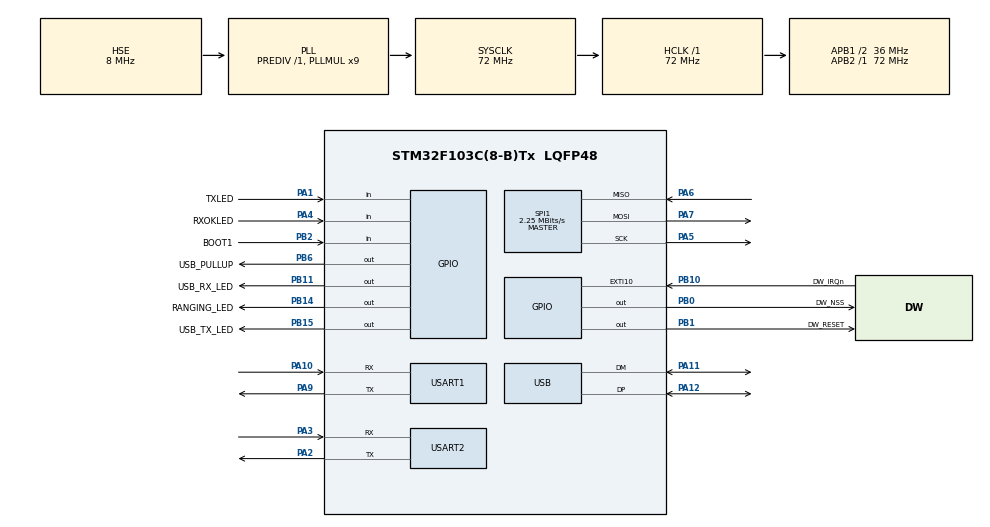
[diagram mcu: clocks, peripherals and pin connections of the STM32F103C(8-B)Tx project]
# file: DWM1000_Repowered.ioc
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Mcu.Family=STM32F1
Mcu.Name=STM32F103C(8-B)Tx
Mcu.Package=LQFP48
NVIC.EXTI15_10_IRQn=true\:0\:0\:false\:false\:true\:true\:true
NVIC.PriorityGroup=NVIC_PRIORITYGROUP_4
NVIC.USB_LP_CAN1_RX0_IRQn=true\:0\:0\:false\:false\:true\:false\:true
PA1.GPIO_Label=TXLED
PA1.Signal=GPIO_Input
PA10.Mode=Asynchronous
PA10.Signal=USART1_RX
PA11.Mode=Device
PA11.Signal=USB_DM
PA12.Mode=Device
PA12.Signal=USB_DP
PA13.Mode=Serial_Wire
PA13.Signal=SYS_JTMS-SWDIO
PA14.Mode=Serial_Wire
PA14.Signal=SYS_JTCK-SWCLK
PA2.Mode=Asynchronous
PA2.Signal=USART2_TX
PA3.Mode=Asynchronous
PA3.Signal=USART2_RX
PA4.GPIO_Label=RXOKLED
PA4.Signal=GPIO_Input
PA5.Mode=Full_Duplex_Master
PA5.Signal=SPI1_SCK
PA6.Mode=Full_Duplex_Master
PA6.Signal=SPI1_MISO
PA7.Mode=Full_Duplex_Master
PA7.Signal=SPI1_MOSI
PA9.Mode=Asynchronous
PA9.Signal=USART1_TX
PB0.GPIO_Label=DW_NSS
PB0.PinState=GPIO_PIN_SET
PB0.Signal=GPIO_Output
PB1.GPIO_Label=DW_RESET
PB1.GPIO_ModeDefaultOutputPP=GPIO_MODE_OUTPUT_OD
PB1.PinState=GPIO_PIN_SET
PB1.Signal=GPIO_Output
PB10.GPIO_Label=DW_IRQn
PB10.GPIO_ModeDefaultEXTI=GPIO_MODE_IT_RISING
PB10.GPIO_PuPd=GPIO_PULLDOWN
PB10.Signal=GPXTI10
PB11.GPIO_Label=USB_RX_LED
PB11.Signal=GPIO_Output
PB14.GPIO_Label=RANGING_LED
PB14.Signal=GPIO_Output
PB15.GPIO_Label=USB_TX_LED
PB15.Signal=GPIO_Output
PB2.GPIO_Label=BOOT1
PB2.Signal=GPIO_Input
PB6.GPIO_Label=USB_PULLUP
PB6.Signal=GPIO_Output
PC14-OSC32_IN.Mode=LSE-External-Oscillator
PC14-OSC32_IN.Signal=RCC_OSC32_IN
PC15-OSC32_OUT.Mode=LSE-External-Oscillator
PC15-OSC32_OUT.Signal=RCC_OSC32_OUT
PD0-OSC_IN.Mode=HSE-External-Oscillator
PD0-OSC_IN.Signal=RCC_OSC_IN
PD1-OSC_OUT.Mode=HSE-External-Oscillator
PD1-OSC_OUT.Signal=RCC_OSC_OUT
ProjectManager.HeapSize=0x200
ProjectManager.StackSize=0x400
ProjectManager.TargetToolchain=STM32CubeIDE
RCC.AHBFreq_Value=72000000
RCC.APB1CLKDivider=RCC_HCLK_DIV2
RCC.APB1Freq_Value=36000000
RCC.APB1TimFreq_Value=72000000
RCC.APB2Freq_Value=72000000
RCC.APB2TimFreq_Value=72000000
RCC.HCLKFreq_Value=72000000
RCC.PLLMUL=RCC_PLL_MUL9
RCC.PLLSourceVirtual=RCC_PLLSOURCE_HSE
RCC.SYSCLKFreq_VALUE=72000000
RCC.SYSCLKSource=RCC_SYSCLKSOURCE_PLLCLK
RCC.USBFreq_Value=48000000
RCC.USBPrescaler=RCC_USBCLKSOURCE_PLL_DIV1_5
SPI1.BaudRatePrescaler=SPI_BAUDRATEPRESCALER_32
SPI1.CalculateBaudRate=2.25 MBits/s
SPI1.Direction=SPI_DIRECTION_2LINES
SPI1.Mode=SPI_MODE_MASTER
SPI1.VirtualType=VM_MASTER
USART1.VirtualMode=VM_ASYNC
USART2.VirtualMode=VM_ASYNC
USB_DEVICE.APP_RX_DATA_SIZE=512
USB_DEVICE.APP_TX_DATA_SIZE=512
USB_DEVICE.CLASS_NAME_FS=CDC
USB_DEVICE.PRODUCT_STRING_CDC_FS=Repowered Robotics UWB
USB_DEVICE.USBD_DEBUG_LEVEL=0
USB_DEVICE.VirtualMode=Cdc
USB_DEVICE.VirtualModeFS=Cdc_FS
VP_USB_DEVICE_VS_USB_DEVICE_CDC_FS.Mode=CDC_FS
board=custom

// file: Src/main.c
/* USER CODE BEGIN Header */
/**
 ******************************************************************************
 * @file           : main.c
 * @brief          : Main program body
 ******************************************************************************
 * @attention
 *
 * <h2><center>&copy; Copyright (c) 2019 STMicroelectronics.
 * All rights reserved.</center></h2>
 *
 * This software component is licensed by ST under BSD 3-Clause license,
 * the "License"; You may not use this file except in compliance with the
 * License. You may obtain a copy of the License at:
 *                        opensource.org/licenses/BSD-3-Clause
 *
 ******************************************************************************
 */
/* USER CODE END Header */

#include "main.h"
#include "usb_device.h"

/* USER CODE BEGIN PD */

/* CAN ID, change to desired value if flashing for the first time */
#define SELF_CAN_ID 		0x01

#ifdef ANCHOR
/* ID of this device, change to desired value if flashing for the first time */
#define SELF_ID 			0x11
#endif

#ifdef BEACON
/* ID of this device will be the CAN bus id, because why not */
#define SELF_ID 			SELF_CAN_ID
#endif

#define IF_TYPE_USB 	0x01
#define IF_TYPE_UART 	0x02

/* RX Timeout in milliseconds */
#define RX_TIMEOUT 			50

/* Broadcast period in milliseconds */
#define ANCHOR_BROADCAST_PERIOD 250

/* USER CODE END PD */

SPI_HandleTypeDef hspi1;

UART_HandleTypeDef huart1;
UART_HandleTypeDef huart2;

/* USER CODE BEGIN PV */
char debug_buf[512];

static dwt_config_t config = {
		2,               /* Channel number. */
		DWT_PRF_64M,     /* Pulse repetition frequency. */
		DWT_PLEN_128,   /* Preamble length. Used in TX only. */
		DWT_PAC8,       /* Preamble acquisition chunk size. Used in RX only. */
		9,               /* TX preamble code. Used in TX only. */
		9,               /* RX preamble code. Used in RX only. */
		0,               /* 0 to use standard SFD, 1 to use non-standard SFD. */
		DWT_BR_6M8,      /* Data rate. */
		DWT_PHRMODE_STD, /* PHY header mode. */
		(1025 + 64)    	 /* SFD timeout (preamble length + 1 + SFD length - PAC size). Used in RX only. */
};

DistanceFrame anchors[NUMBER_OF_ANCHORS];

state_data_t 	state_data;
state_t 		state 		= IDLE;
uint32_t timeout_start 		= 0;
_Bool 			new_frame 	= 0;
RangingStatus 	ranging_status;
dwt_rxdiag_t 	rx_diagnostics;
double 			rx_power;
double 			fp_power;
double 			snr;
_Bool 			do_ranging 					= 0;
_Bool 			dwm1000_setup_success 		= 0;
BeaconTimeStamps beacon_stamps;
uint8 			sequence_num 				= 0;
uint32_t 		operating_mode 				= DEVICE_MODE_TAG;

unsigned long long t_sp, t_rr, t_sf, t_rp, t_sr, t_rf;

int size = 0; 						// used for sprintf and debugging
uint8_t uart_buf[INPUT_BUFFER_SIZE] = {}; 		// store data received over UART2
HAL_StatusTypeDef 	UART_status;
HAL_StatusTypeDef 	uart2_status; 	// status of uart2
int8_t 				usb_status;
uint32_t 			bytes_read; 	//
extern AnchorData* anchor_data; 	// place to store data for anchors (defined in comm.h)
CONFIG_FIELD_TYPE self_config[FIELD_SIZE*NUM_FIELDS]; 	// configuration for ourselves
uint8_t packet[INPUT_BUFFER_SIZE]; 	// will hold received packet from host
uint8_t packet_type = 0; 			// type of received packet
int packet_len 	= 0; 			// length of received packet
int packet_rcvd 	= 0; 			// indicate if packet has been received and how to process it
uint8_t send_buf[SEND_BUF_SIZE]; 	// lorge buffer for response packet
int usb_ind = 0;
uint16 src_address;
uint16 src_panid;

/* USER CODE END PV */

void SystemClock_Config(void);
static void MX_GPIO_Init(void);
static void MX_SPI1_Init(void);
static void MX_USART1_UART_Init(void);
static void MX_USART2_UART_Init(void);
/* USER CODE BEGIN PFP */
void init_from_fields(void* fields, dwt_config_t* dw_config);
void init_from_config(CONFIG_FIELD_TYPE* config, dwt_config_t* dw_config);
void set_state(state_data_t* sd, state_t state);
void set_state_idle(state_data_t* state);
void set_state_tag_idle(state_data_t* sd);
void set_state_anchor_idle(state_data_t* state);
void set_wait_for_poll(state_data_t* sd);
void set_wait_for_final(state_data_t* sd);
void set_wait_for_repsonse(state_data_t* sd);
void set_wait_for_data(state_data_t* sd);
void set_state_process_rx_frame(state_data_t* state);
void process_anchor_broadcast(state_data_t* state);
void tag_wait_timeout(state_data_t* state);
void anchor_wait_timeout(state_data_t* state);
void next_anchor(state_data_t* state);
int  check_rx_state();
void disable_ranging(state_data_t* state);
void enable_ranging(state_data_t* state);
void dw_it_disable(void);
void dw_it_enable(void);
uint8_t CDC_Transmit_FS(uint8_t* Buf, uint16_t Len);
/* USER CODE END PFP */

int main(void)
{

  /* MCU Configuration--------------------------------------------------------*/

  /* Reset of all peripherals, Initializes the Flash interface and the Systick. */
  HAL_Init();

  /* Configure the system clock */
  SystemClock_Config();

  /* Initialize all configured peripherals */
  MX_GPIO_Init();
  MX_SPI1_Init();
  MX_USART1_UART_Init();
  MX_USART2_UART_Init();
  MX_USB_DEVICE_Init();
  /* USER CODE BEGIN 2 */

	anchor_data = (AnchorData*)malloc((ANCHOR_LIST_SIZE + 1)*sizeof(AnchorData));
	init_anchor_array(anchor_data, ANCHOR_LIST_SIZE + 1);

	state_data.anchors = anchor_data;

	init_field_memory(self_config); // set everything to defaults

	read_config_from_eeprom(self_config); 	// pull any existing values from flash

	init_from_config(self_config, &config); // inititalize the DWM1000 from our fields

//	HAL_Delay(state_data.self_id * 10); // delay to hopefully stagger broadcast messages

  /* USER CODE END 2 */

  /* Infinite loop */
	while (1)
	{

    /* USER CODE BEGIN 3 */
		// ---- check UART for data ----
		uart2_status = HAL_UART_Receive(&huart2, uart_buf, HDDR_LEN, 5); //INPUT_TIMEOUT);
		if((packet_type = uart_buf[0]) != 0 && uart2_status == HAL_OK){
			HAL_GPIO_WritePin(USB_RX_LED_GPIO_Port, USB_RX_LED_Pin, GPIO_PIN_SET);
			packet_len = HDDR_LEN + uart_buf[1] + 1; 	// get the packet length

			if(packet_len > INPUT_BUFFER_SIZE)
				packet_len = INPUT_BUFFER_SIZE; // clamp packet_len just in case

			// read the packet
			uart2_status = HAL_UART_Receive(&huart2, uart_buf + HDDR_LEN, uart_buf[1] + 1, INPUT_TIMEOUT);

			// if all is well
			if(uart2_status == HAL_OK && uart_buf[packet_len - 1] == STOP_BYTE){
				packet_rcvd = IF_TYPE_UART;
				memcpy(packet, uart_buf, packet_len);
			}

			memset(uart_buf, 0, packet_len); // clear the packet buffer
			HAL_GPIO_WritePin(USB_RX_LED_GPIO_Port, USB_RX_LED_Pin, GPIO_PIN_RESET);

		}else if((packet_type = usb_rx_buffer[0]) != 0){
			HAL_GPIO_WritePin(USB_RX_LED_GPIO_Port, USB_RX_LED_Pin, GPIO_PIN_SET);
			packet_len 	= usb_rx_buffer[1] + HDDR_LEN + 1;

			if(packet_len > INPUT_BUFFER_SIZE)
				packet_len = INPUT_BUFFER_SIZE; // clamp packet_len just in case

			if(usb_rx_buffer[packet_len - 1] == STOP_BYTE){
				packet_rcvd = IF_TYPE_USB;
				memcpy(packet, usb_rx_buffer, packet_len);
			}

			memset(usb_rx_buffer, 0, packet_len);

			HAL_GPIO_WritePin(USB_RX_LED_GPIO_Port, USB_RX_LED_Pin, GPIO_PIN_RESET);
		}

		// ---- Process received packet ----
		if(packet_rcvd > 0){
			debug(&huart1, "Processing packet\r\n");
			int packet_status = process_packet(packet, send_buf, self_config, &state_data);

			if(packet_status == PACKET_OK){
				if(packet[0] == CMD_SET_CONFIG){
					init_from_config(self_config, &config); // re-initialize with the new parameters
					save_fields_to_eeprom(self_config);
				}
			}else{
				sprintf(debug_buf, "Packet error: %d\r\n", packet_status);
				debug(&huart1, debug_buf);
			}
			int send_size = HDDR_LEN + send_buf[1] + 1;
			switch(packet_rcvd){
			case IF_TYPE_UART:
				HAL_GPIO_WritePin(GPIOB, USB_TX_LED_Pin, GPIO_PIN_SET);
				uart2_status = HAL_UART_Transmit(&huart2, send_buf, send_size, INPUT_TIMEOUT);
//				uart2_status = HAL_UART_Transmit_IT(&huart2, send_buf, send_size);
				HAL_GPIO_WritePin(GPIOB, USB_TX_LED_Pin, GPIO_PIN_RESET);
				break;
			case IF_TYPE_USB:
				HAL_GPIO_WritePin(GPIOB, USB_TX_LED_Pin, GPIO_PIN_SET);
				CDC_Transmit_FS(send_buf, send_size);
				HAL_GPIO_WritePin(GPIOB, USB_TX_LED_Pin, GPIO_PIN_RESET);
				break;
			default:
				break;
			}
			packet_rcvd = 0; // reset this flag
		}

		// ==== STATE MACHINE ====
		if(state_data.mode == DEVICE_MODE_TAG){
			switch(state_data.state){
			case IDLE:
				//debug(&huart1, "idle...\r");
				// check for the trigger signal
				if(state_data.ranging){

					dwt_forcetrxoff(); // in case we were in RX mode looking for a beacon frame

					// select whichever anchor we're ranging with
					state_data.transact_id = state_data.anchors[state_data.anchor_ind].id;
					size = sprintf(debug_buf, "(Anchor index: %d) Sending POLL to anchor %d\r\n", state_data.anchor_ind, state_data.transact_id);
					debug(&huart1, debug_buf);

					// LED on
					//HAL_GPIO_WritePin(RANGING_LED_GPIO_Port, RANGING_LED_Pin, GPIO_PIN_SET);
					int data_len = rtls_make_mac_header(&state_data, FRAME_TYPE_DATA); //make_mac_header(state_data.tx_buffer, state_data.transact_id, state_data.transact_id, state_data.seq_num);
					state_data.tx_buffer[data_len++] = POLL; // right after the MAC header

					if(transmit_frame(state_data.tx_buffer, data_len + 2, 1) != TX_SUCCESS)
						break;

					state_data.t_sp = get_tx_timestamp();
					set_wait_for_repsonse(&state_data);
				}else if(HAL_GetTick() - state_data.timer_start >= state_data.ranging_period &&
						state_data.num_anchors > 0){

					state_data.timer_start = HAL_GetTick();
					enable_ranging(&state_data);
				}
				break;
			case WAIT_FOR_RESPONSE:
				if(state_data.new_frame){
					state_data.new_frame = 0;
					// check the frame type and source address
					if(state_data.rx_buffer[MAC_SIZE_EXPECTED] == RESPONSE_INIT &&
							get_src_addr(state_data.rx_buffer) == state_data.transact_id){

						size = sprintf(debug_buf, "RESPONSE_INIT from %d\r\n", state_data.transact_id);
						debug(&huart1, debug_buf);

						state_data.t_rr = get_rx_timestamp();

						send_response_final(&state_data);

						state_data.t_sf = get_tx_timestamp();

						set_wait_for_data(&state_data);
					}else{
						dwt_rxenable(DWT_START_RX_IMMEDIATE); // re-enable receiver and keep listening
					}
				}else if(HAL_GetTick() - state_data.timer_start >= RX_TIMEOUT){
					tag_wait_timeout(&state_data);
				}
				break;
			case WAIT_FOR_DATA:
				if(state_data.new_frame){
					state_data.new_frame = 0;
					// check the frame type and source address
					if(state_data.rx_buffer[MAC_SIZE_EXPECTED] == RESPONSE_DATA &&
							get_src_addr(state_data.rx_buffer) == state_data.transact_id){

						size = sprintf(debug_buf, "RESPONSE_DATA from %d\r\n", state_data.transact_id);
						debug(&huart1, debug_buf);

						AnchorData* anchor = &(state_data.anchors[state_data.anchor_ind]);

						// COPY ALL THE DATA OVER
						int ind = MAC_SIZE_EXPECTED + 1; // index for start of timestamps
						memcpy(&state_data.t_rp, state_data.rx_buffer + ind, sizeof(state_data.t_rp));
						ind += sizeof(state_data.t_rp);
						memcpy(&state_data.t_sr, state_data.rx_buffer + ind, sizeof(state_data.t_sr));
						ind += sizeof(state_data.t_sr);
						memcpy(&state_data.t_rf, state_data.rx_buffer + ind, sizeof(state_data.t_rf));
						ind += sizeof(state_data.t_rf);
						memcpy(&anchor->x, state_data.rx_buffer + ind, sizeof(anchor->x));
						ind += sizeof(anchor->x);
						memcpy(&anchor->y, state_data.rx_buffer + ind, sizeof(anchor->y));
						ind += sizeof(anchor->y);
						memcpy(&anchor->z, state_data.rx_buffer + ind, sizeof(anchor->z));
						ind += sizeof(anchor->z);
						anchor->timestamp = HAL_GetTick();

						get_tof(&state_data);

						state_data.distance = DISTANCE_FROM_TOF(state_data.tof);
						//state_data.ranging = 0; // done ranging

						anchor->timeout_count = 0;
						anchor->distance = state_data.distance;

						HAL_GPIO_WritePin(RANGING_LED_GPIO_Port, RANGING_LED_Pin, GPIO_PIN_RESET);

						disable_ranging(&state_data);

						set_state_tag_idle(&state_data); 		// back to idle state

						next_anchor(&state_data); 				// increment anchor index

						//HAL_Delay(state_data.ranging_period); 	// take a break

					}else{
						dwt_rxenable(DWT_START_RX_IMMEDIATE); 	// re-enable receiver and keep listening
					}
				}else if(HAL_GetTick() - state_data.timer_start >= RX_TIMEOUT){
					tag_wait_timeout(&state_data);
				}
				break;
			default:
				set_state_tag_idle(&state_data);
				break;
			}
		}else if(state_data.mode == DEVICE_MODE_ANCHOR){
			switch(state_data.state){
			case IDLE:
				set_wait_for_poll(&state_data);
				break;
			case WAIT_FOR_POLL:
				if(state_data.new_frame){
					state_data.new_frame = 0; // deassert new_frame
					debug(&huart1, "new frame\r\n");
					// if we're NOT ranging already, and this is a POLL frame
					if(!state_data.ranging && state_data.rx_buffer[MAC_SIZE_EXPECTED] == POLL){

						enable_ranging(&state_data); // indicate ranging in progress

						state_data.t_rp = get_rx_timestamp(); 		// stash rx timestamp
						//state_data.transact_id = get_src_addr(state_data.rx_buffer); // indicate who we're talking with

						size = sprintf(debug_buf, "Got POLL from %d\r\n", state_data.transact_id);
						debug(&huart1, debug_buf);

						send_response_init(&state_data); 	// send a RESPONSE_INIT frame & stash timestamp
						if(state_data.tx_status != TX_SUCCESS){
							init_from_config(self_config, &config); // just reinitialize
							set_state_idle(&state_data);
						}else{
							set_wait_for_final(&state_data); 	// transition to state WAIT_FOR_FINAL
						}
					}
//					else if(state_data.rx_buffer[MAC_SIZE_EXPECTED] == ANCHOR_BROADCAST){
//						// we've received an anchor broadcast signal
//						//HAL_Delay(state_data.self_id * 10); // delay to stagger broadcast transmission;
//						dwt_rxenable(DWT_START_RX_IMMEDIATE);
//					}
					else{
						dwt_rxenable(DWT_START_RX_IMMEDIATE); // re-enable receiver and keep listening
					}
				}
				else if(HAL_GetTick() - state_data.broadcast_timer >= ANCHOR_BROADCAST_PERIOD){
					// BROADCAST
					disable_ranging(&state_data);
					debug(&huart1, "Broadcasting our info...\r\n");
					dwt_forcetrxoff();

					send_anchor_broadcast(&state_data);
					set_wait_for_poll(&state_data); // enables receiver and resets timer_start
				}
				break;
			case WAIT_FOR_FINAL:
				if(state_data.new_frame){
					state_data.new_frame = 0;
					// if it's a SEND_FINAL frame and the SRC ADDR matches the current transact_id
					if(state_data.rx_buffer[MAC_SIZE_EXPECTED] == SEND_FINAL &&
							state_data.transact_id == get_src_addr(state_data.rx_buffer)){

						size = sprintf(debug_buf, "Got SEND_FINAL from %d\r\n", state_data.transact_id);
						debug(&huart1, debug_buf);

						state_data.t_rf = get_rx_timestamp(); 	// stash the timestamp

						send_response_data(&state_data); 		// send a RESPONSE_DATA frame

						disable_ranging(&state_data);

						set_wait_for_poll(&state_data); // return to WAIT_FOR_POLL
					}else{
						dwt_rxenable(DWT_START_RX_IMMEDIATE);
					}
				}else if(HAL_GetTick() - state_data.timer_start >= RX_TIMEOUT){
					anchor_wait_timeout(&state_data);
				}
				break;
			default:
				set_wait_for_poll(&state_data);
				break;
			}
		}else{
			// unrecognized operating mode
		}

	}
  /* USER CODE END 3 */
}

void SystemClock_Config(void)
{
  RCC_OscInitTypeDef RCC_OscInitStruct = {0};
  RCC_ClkInitTypeDef RCC_ClkInitStruct = {0};
  RCC_PeriphCLKInitTypeDef PeriphClkInit = {0};

  /** Initializes the CPU, AHB and APB busses clocks
  */
  RCC_OscInitStruct.OscillatorType = RCC_OSCILLATORTYPE_HSE;
  RCC_OscInitStruct.HSEState = RCC_HSE_ON;
  RCC_OscInitStruct.HSEPredivValue = RCC_HSE_PREDIV_DIV1;
  RCC_OscInitStruct.HSIState = RCC_HSI_ON;
  RCC_OscInitStruct.PLL.PLLState = RCC_PLL_ON;
  RCC_OscInitStruct.PLL.PLLSource = RCC_PLLSOURCE_HSE;
  RCC_OscInitStruct.PLL.PLLMUL = RCC_PLL_MUL9;
  if (HAL_RCC_OscConfig(&RCC_OscInitStruct) != HAL_OK)
  {
    Error_Handler();
  }
  /** Initializes the CPU, AHB and APB busses clocks
  */
  RCC_ClkInitStruct.ClockType = RCC_CLOCKTYPE_HCLK|RCC_CLOCKTYPE_SYSCLK
                              |RCC_CLOCKTYPE_PCLK1|RCC_CLOCKTYPE_PCLK2;
  RCC_ClkInitStruct.SYSCLKSource = RCC_SYSCLKSOURCE_PLLCLK;
  RCC_ClkInitStruct.AHBCLKDivider = RCC_SYSCLK_DIV1;
  RCC_ClkInitStruct.APB1CLKDivider = RCC_HCLK_DIV2;
  RCC_ClkInitStruct.APB2CLKDivider = RCC_HCLK_DIV1;

  if (HAL_RCC_ClockConfig(&RCC_ClkInitStruct, FLASH_LATENCY_2) != HAL_OK)
  {
    Error_Handler();
  }
  PeriphClkInit.PeriphClockSelection = RCC_PERIPHCLK_USB;
  PeriphClkInit.UsbClockSelection = RCC_USBCLKSOURCE_PLL_DIV1_5;
  if (HAL_RCCEx_PeriphCLKConfig(&PeriphClkInit) != HAL_OK)
  {
    Error_Handler();
  }
}

static void MX_SPI1_Init(void)
{

  /* SPI1 parameter configuration*/
  hspi1.Instance = SPI1;
  hspi1.Init.Mode = SPI_MODE_MASTER;
  hspi1.Init.Direction = SPI_DIRECTION_2LINES;
  hspi1.Init.DataSize = SPI_DATASIZE_8BIT;
  hspi1.Init.CLKPolarity = SPI_POLARITY_LOW;
  hspi1.Init.CLKPhase = SPI_PHASE_1EDGE;
  hspi1.Init.NSS = SPI_NSS_SOFT;
  hspi1.Init.BaudRatePrescaler = SPI_BAUDRATEPRESCALER_32;
  hspi1.Init.FirstBit = SPI_FIRSTBIT_MSB;
  hspi1.Init.TIMode = SPI_TIMODE_DISABLE;
  hspi1.Init.CRCCalculation = SPI_CRCCALCULATION_DISABLE;
  hspi1.Init.CRCPolynomial = 10;
  if (HAL_SPI_Init(&hspi1) != HAL_OK)
  {
    Error_Handler();
  }

}

static void MX_USART1_UART_Init(void)
{

  huart1.Instance = USART1;
  huart1.Init.BaudRate = 115200;
  huart1.Init.WordLength = UART_WORDLENGTH_8B;
  huart1.Init.StopBits = UART_STOPBITS_1;
  huart1.Init.Parity = UART_PARITY_NONE;
  huart1.Init.Mode = UART_MODE_TX_RX;
  huart1.Init.HwFlowCtl = UART_HWCONTROL_NONE;
  huart1.Init.OverSampling = UART_OVERSAMPLING_16;
  if (HAL_UART_Init(&huart1) != HAL_OK)
  {
    Error_Handler();
  }

}

static void MX_USART2_UART_Init(void)
{

  huart2.Instance = USART2;
  huart2.Init.BaudRate = 115200;
  huart2.Init.WordLength = UART_WORDLENGTH_8B;
  huart2.Init.StopBits = UART_STOPBITS_1;
  huart2.Init.Parity = UART_PARITY_NONE;
  huart2.Init.Mode = UART_MODE_TX_RX;
  huart2.Init.HwFlowCtl = UART_HWCONTROL_NONE;
  huart2.Init.OverSampling = UART_OVERSAMPLING_16;
  if (HAL_UART_Init(&huart2) != HAL_OK)
  {
    Error_Handler();
  }

}

static void MX_GPIO_Init(void)
{
  GPIO_InitTypeDef GPIO_InitStruct = {0};

  /* GPIO Ports Clock Enable */
  __HAL_RCC_GPIOC_CLK_ENABLE();
  __HAL_RCC_GPIOD_CLK_ENABLE();
  __HAL_RCC_GPIOA_CLK_ENABLE();
  __HAL_RCC_GPIOB_CLK_ENABLE();

  /*Configure GPIO pin Output Level */
  HAL_GPIO_WritePin(GPIOB, DW_NSS_Pin|DW_RESET_Pin, GPIO_PIN_SET);

  /*Configure GPIO pin Output Level */
  HAL_GPIO_WritePin(GPIOB, USB_RX_LED_Pin|RANGING_LED_Pin|USB_TX_LED_Pin|USB_PULLUP_Pin, GPIO_PIN_RESET);

  /*Configure GPIO pins : TXLED_Pin RXOKLED_Pin */
  GPIO_InitStruct.Pin = TXLED_Pin|RXOKLED_Pin;
  GPIO_InitStruct.Mode = GPIO_MODE_INPUT;
  GPIO_InitStruct.Pull = GPIO_NOPULL;
  HAL_GPIO_Init(GPIOA, &GPIO_InitStruct);

  /*Configure GPIO pins : DW_NSS_Pin USB_RX_LED_Pin RANGING_LED_Pin USB_TX_LED_Pin
                           USB_PULLUP_Pin */
  GPIO_InitStruct.Pin = DW_NSS_Pin|USB_RX_LED_Pin|RANGING_LED_Pin|USB_TX_LED_Pin
                          |USB_PULLUP_Pin;
  GPIO_InitStruct.Mode = GPIO_MODE_OUTPUT_PP;
  GPIO_InitStruct.Pull = GPIO_NOPULL;
  GPIO_InitStruct.Speed = GPIO_SPEED_FREQ_LOW;
  HAL_GPIO_Init(GPIOB, &GPIO_InitStruct);

  /*Configure GPIO pin : DW_RESET_Pin */
  GPIO_InitStruct.Pin = DW_RESET_Pin;
  GPIO_InitStruct.Mode = GPIO_MODE_OUTPUT_OD;
  GPIO_InitStruct.Pull = GPIO_NOPULL;
  GPIO_InitStruct.Speed = GPIO_SPEED_FREQ_LOW;
  HAL_GPIO_Init(DW_RESET_GPIO_Port, &GPIO_InitStruct);

  /*Configure GPIO pin : BOOT1_Pin */
  GPIO_InitStruct.Pin = BOOT1_Pin;
  GPIO_InitStruct.Mode = GPIO_MODE_INPUT;
  GPIO_InitStruct.Pull = GPIO_NOPULL;
  HAL_GPIO_Init(BOOT1_GPIO_Port, &GPIO_InitStruct);

  /*Configure GPIO pin : DW_IRQn_Pin */
  GPIO_InitStruct.Pin = DW_IRQn_Pin;
  GPIO_InitStruct.Mode = GPIO_MODE_IT_RISING;
  GPIO_InitStruct.Pull = GPIO_PULLDOWN;
  HAL_GPIO_Init(DW_IRQn_GPIO_Port, &GPIO_InitStruct);

  /* EXTI interrupt init*/
  HAL_NVIC_SetPriority(DW_IRQn_Type, 0, 0);
  HAL_NVIC_EnableIRQ(DW_IRQn_Type);

}

/* USER CODE BEGIN 4 */
void set_state(state_data_t* sd, state_t state){
	sd->last_state = sd->state;
	sd->state = state;
}

void set_state_idle(state_data_t* state){
	if(state->mode == DEVICE_MODE_TAG){
		set_state_tag_idle(state);
	}else{
		set_state_anchor_idle(state);
	}
}
void set_state_tag_idle(state_data_t* sd){
	set_state(sd, IDLE); //sd->state = IDLE;
	sd->timer_start = HAL_GetTick(); 	// reset the timer
	disable_ranging(sd);
	dwt_rxenable(DWT_START_RX_IMMEDIATE); 	// in case there are any anchor beacon frames
}

void set_state_anchor_idle(state_data_t* state){
	disable_ranging(state);
	set_state(state, IDLE); //state->state = IDLE;
}

void set_wait_for_poll(state_data_t* sd){
	set_state(sd, WAIT_FOR_POLL); //sd->state = WAIT_FOR_POLL;
	sd->timer_start = HAL_GetTick(); 	// reset the timer
	sd->broadcast_timer = HAL_GetTick();
	dwt_rxenable(DWT_START_RX_IMMEDIATE); /* Activate reception immediately. */
}

void set_wait_for_final(state_data_t* sd){
	set_state(sd, WAIT_FOR_FINAL); //sd->state = WAIT_FOR_FINAL;
	sd->timer_start = HAL_GetTick(); 	// reset the timer
	dwt_rxenable(DWT_START_RX_IMMEDIATE); /* Activate reception immediately. */
}

void set_wait_for_repsonse(state_data_t* sd){
	set_state(sd, WAIT_FOR_RESPONSE); //sd->state = WAIT_FOR_RESPONSE;
	sd->timer_start = HAL_GetTick(); 	// reset the timer
	dwt_rxenable(DWT_START_RX_IMMEDIATE);
}

void process_anchor_broadcast(state_data_t* state){
	if(state->mode == DEVICE_MODE_TAG){
		// add the new anchor
		add_new_anchor(state, get_anchor_from_frame(state->rx_buffer));
		//enable_ranging(state);
	}
	state->new_frame = 0;
	dwt_rxenable(DWT_START_RX_IMMEDIATE);
}

void disable_ranging(state_data_t* state){
	debug(&huart1, "Disabling ranging\r\n");
	state->ranging = 0;
	HAL_GPIO_WritePin(RANGING_LED_GPIO_Port, RANGING_LED_Pin, GPIO_PIN_RESET);
}
void enable_ranging(state_data_t* state){
	debug(&huart1, "Enabling ranging\r\n");
	state->ranging = 1;
	HAL_GPIO_WritePin(RANGING_LED_GPIO_Port, RANGING_LED_Pin, GPIO_PIN_SET);
}

void set_wait_for_data(state_data_t* sd){
	set_state(sd, WAIT_FOR_DATA); //sd->state = WAIT_FOR_DATA;
	sd->timer_start = HAL_GetTick(); 	// reset the timer
	dwt_rxenable(DWT_START_RX_IMMEDIATE);
}

void tag_wait_timeout(state_data_t* state){
	check_rx_state(); // check for and clear any errors
	state->anchors[state->anchor_ind].timeout_count++;
	size = sprintf(debug_buf, "(Anchor ind: %d) timed out waiting for %d\r\n", state->anchor_ind, state->anchors[state->anchor_ind].id);
	debug(&huart1, debug_buf);

	// have we timed out 3 times in a row
//	if(state->anchors[state->anchor_ind].timeout_count > 3){
//		// if so, mark this anchor as dead
//		state->anchors[state->anchor_ind].is_alive = false;
//		// clean up dead anchors
//		// decrement num_anchors by the number removed
//		int dead_anchors = remove_dead_anchors(state->anchors, state->num_anchors);
//		state->num_anchors -= dead_anchors;
//		sort_anchors_by_rx_power(state->anchors, state->num_anchors);
//		size = sprintf(debug_buf, "Removed %d dead anchors (%d anchors alive)\r\n", dead_anchors, state->num_anchors);
//		debug(&huart1, debug_buf);
//	}

	if(state->num_anchors > 0){
		enable_ranging(state); // enable ranging
	}else{
		disable_ranging(state); // no anchors, disable ranging
	}
	next_anchor(state); // increment anchor_ind, or loop back to 0
	set_state_tag_idle(state); // move to idle state
}

void anchor_wait_timeout(state_data_t* state){
	check_rx_state(); // check for and clear any errors
	size = sprintf(debug_buf, "Timed out waiting for %d\r\n", state->transact_id);
	debug(&huart1, debug_buf);
	disable_ranging(state);
	set_wait_for_poll(state);
}

int check_rx_state(){
	uint32 status_reg = dwt_read32bitreg(SYS_STATUS_ID);

	if(status_reg & SYS_STATUS_ALL_RX_ERR){
		//debug(&huart1, "RX error\r");
		if(status_reg & SYS_STATUS_RXPHE)
			debug(&huart1, "RX failed: PHY error\r\n");
		else if(status_reg & SYS_STATUS_RXFCE)
			debug(&huart1, "RX failed: FCS Error\r\n");
		else if(status_reg & SYS_STATUS_RXRFSL)
			debug(&huart1, "RX failed: Reed Solomon Frame Sync Loss\r\n");
		else if(status_reg & SYS_STATUS_RXSFDTO)
			debug(&huart1, "RX failed: SFD timeout\r\n");
		else if(status_reg & SYS_STATUS_AFFREJ)
			debug(&huart1, "RX failed: Automatic Frame Filtering rejection\r\n");
		else if(status_reg & SYS_STATUS_LDEERR)
			debug(&huart1, "RX failed: Leading edge detection processing error\r\n");

		/* Clear RX error events in the DW1000 status register. */
		dwt_write32bitreg(SYS_STATUS_ID, SYS_STATUS_ALL_RX_ERR);
		/* Reset RX to properly reinitialise LDE operation. */
		dwt_rxreset();

		HAL_Delay(10);
		return -1;
	}
	return 0;
}

void next_anchor(state_data_t* state){
	// advance the anchor index
	state->anchor_ind++;

	if(state->anchor_ind >= state->n_range_with || state->anchor_ind >= state->num_anchors){
		state->anchor_ind = 0;
		// if we have lotsa anchors, sort them so we only range with the best
		if(state->num_anchors > state->n_range_with)
			sort_anchors_by_rx_qual(state->anchors, state->num_anchors);
	}

	size = sprintf(debug_buf, "Number of anchors    : %d\r\n", state->num_anchors);
	debug(&huart1, debug_buf);
	size = sprintf(debug_buf, "Anchors to range with: %d\r\n", state->n_range_with);
	debug(&huart1, debug_buf);
	size = sprintf(debug_buf, "Anchor index         : %d\r\n", state->anchor_ind);
	debug(&huart1, debug_buf);
}

/**
 * callback to run when the DWM_IRQn pin goes HIGH, indicating frame reception
 */
void HAL_GPIO_EXTI_Callback(uint16_t GPIO_Pin){

	//debug(&huart1, "Interrupt\r");
	if(GPIO_Pin == DW_IRQn_Pin){

		//uint32_t status_reg = dwt_read32bitreg(SYS_STATUS_ID);

		//if (status_reg & SYS_STATUS_RXFCG){
			state_data.new_frame = 1; // signal to the state machine that we have a new frame
			read_rx_frame(state_data.rx_buffer);
			if(state_data.rx_buffer[MAC_SIZE_EXPECTED] == ANCHOR_BROADCAST){
				process_anchor_broadcast(&state_data);
			}
		//}
	}

}

void dw_it_disable(void){
	HAL_NVIC_DisableIRQ(DW_IRQn_Type);
}
void dw_it_enable(void){
	HAL_NVIC_EnableIRQ(DW_IRQn_Type);
}

//static dwt_config_t config = {
//    2,               /* Channel number. */
//    DWT_PRF_64M,     /* Pulse repetition frequency. */
//    DWT_PLEN_128,   /* Preamble length. Used in TX only. */
//    DWT_PAC8,       /* Preamble acquisition chunk size. Used in RX only. */
//    9,               /* TX preamble code. Used in TX only. */
//    9,               /* RX preamble code. Used in RX only. */
//    0,               /* 0 to use standard SFD, 1 to use non-standard SFD. */
//    DWT_BR_6M8,      /* Data rate. */
//    DWT_PHRMODE_STD, /* PHY header mode. */
//    (1025 + 64)    	 /* SFD timeout (preamble length + 1 + SFD length - PAC size). Used in RX only. */
//};
void init_from_config(CONFIG_FIELD_TYPE* config, dwt_config_t* dw_config){

	uint32_t id = 0;
	uint32_t channel = 2;
	uint32_t mode = 0;
	uint32_t n_anchors = 0;
	uint32_t samples_per_range = 0;
	get_field(config, FIELD_SELF_ID, (void*)&id);
	get_field(config, FIELD_MODE, (void*)&mode);
	get_field(config, FIELD_CHANNEL, (void*)&channel);
	get_field(config, FIELD_NUMBER_OF_ANCHORS, (void*)&n_anchors);
	get_field(config, FIELD_SAMPLES_PER_RANGE, (void*)&samples_per_range);
	get_field(config, FIELD_X, (void*)&state_data.x);
	get_field(config, FIELD_Y, (void*)&state_data.y);
	get_field(config, FIELD_Z, (void*)&state_data.z);

	state_data.self_id 	= (uint16_t)(id & 0xFFFF);
	state_data.channel  = (uint8_t) (channel & 0xFF);
	state_data.mode = (uint8_t) (mode & 0xFF);
	state_data.ranging_period = DFLT_RANGING_PERIOD;
	state_data.num_anchors = 0;

	if(n_anchors > MAX_NUMBER_OF_ANCHORS)
		n_anchors = MAX_NUMBER_OF_ANCHORS;

	state_data.n_range_with = (int)(n_anchors & 0xFF);

	dw_config->chan = (uint8) (channel & 0xFF);

	switch(dw_config->chan){
	case 1:
		dw_config->rxCode = 9;
		dw_config->txCode = 9;
		break;
	case 2:
		dw_config->rxCode = 9;
		dw_config->txCode = 9;
		break;
	case 3:
		dw_config->rxCode = 9;
		dw_config->txCode = 9;
		break;
	case 5:
		dw_config->rxCode = 9;
		dw_config->txCode = 9;
		break;
	case 4:
		dw_config->rxCode = 17;
		dw_config->txCode = 17;
		break;
	case 7:
		dw_config->rxCode = 17;
		dw_config->txCode = 17;
		break;
	default:
		dw_config->chan = 2;
		dw_config->rxCode = 9;
		dw_config->txCode = 9;
		break;
	}

	reset_DW1000(); /* Target specific drive of RSTn line into DW1000 low for a period. */
	port_set_dw1000_slowrate();
	if (dwt_initialise(DWT_LOADUCODE) == DWT_ERROR){
		debug(&huart1, "INIT FAILED :(\r\n");
		return;
	}else{
		debug(&huart1, "INIT SUCCESS!!\r\n");
	}
	port_set_dw1000_fastrate();

	/* Configure DW1000. See NOTE 3 below. */
	dwt_configure(dw_config);

	dwt_setrxantennadelay(RX_ANT_DLY);
	dwt_settxantennadelay(TX_ANT_DLY);

	dwt_setpanid((uint16) state_data.self_id);
	dwt_setaddress16((uint16)state_data.self_id);	// why not just have ADDRESS == PAN_ID ?

	uint16_t enable = DWT_FF_DATA_EN; //enable data frames
	if(state_data.mode == DEVICE_MODE_TAG)
		enable |= DWT_FF_BEACON_EN; // listen for these only if we're a tag

	dwt_enableframefilter(enable);

	dwt_setinterrupt(DWT_INT_RFCG, 1);

	char str[128];
	sprintf(str, "ID     : %d\r\n", state_data.self_id);
	debug(&huart1, str);
	sprintf(str, "Channel: %d\r\n", state_data.channel);
	debug(&huart1, str);
	sprintf(str, "Mode   : %d\r\n", state_data.mode);
	debug(&huart1, str);

	set_state_idle(&state_data);

}

void debug(UART_HandleTypeDef* huart, char* text){
#ifdef DEBUG
	int len = strlen(text);
	//while(text[len++] != '\n' && len < 1024){ }
//	while(HAL_UART_Transmit_IT(huart, (uint8_t*)text, len) != HAL_OK){ }
	HAL_UART_Transmit(huart, (uint8_t*)text, len, 10);
#endif
}

/* USER CODE END 4 */

void Error_Handler(void)
{
  /* USER CODE BEGIN Error_Handler_Debug */
	/* User can add his own implementation to report the HAL error return state */
	debug(&huart1, "Error occurred\r\n");
  /* USER CODE END Error_Handler_Debug */
}

/************************ (C) COPYRIGHT STMicroelectronics *****END OF FILE****/
